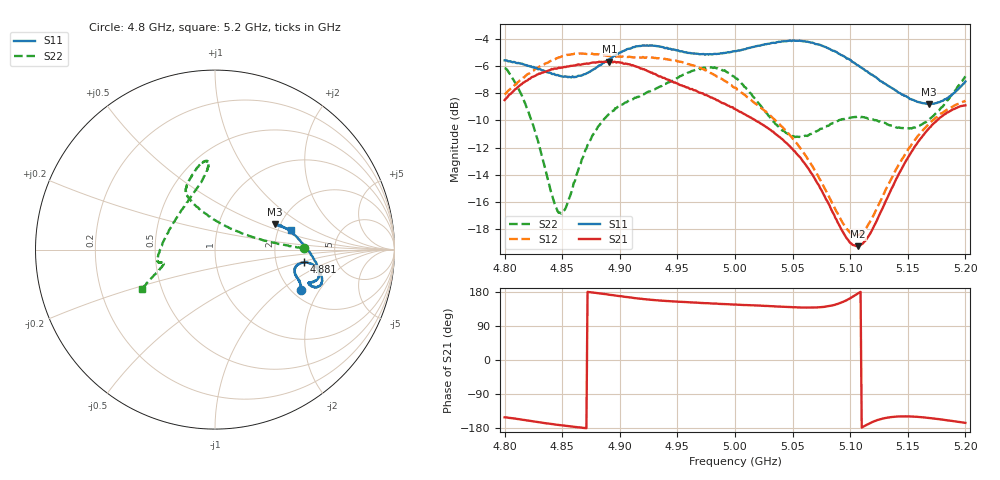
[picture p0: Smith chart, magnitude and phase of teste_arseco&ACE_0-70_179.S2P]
! Network Analyzer HP8722D
! Hewlett-Packard
! Data name: Linha & Wilkinson
! Saver's name: Rodrigo Anjos
! Comments: Teste da utilização de aquisição
! continua pelo VNA HP8722D
! Time and date: 8/5/2025 14:15
!  Frequency  S11  S21  S12  S22
# HZ  S  MA R 50
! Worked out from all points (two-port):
!   401 points, 4.8 GHz to 5.2 GHz, reference 50 ohm
!   highest |S21| = -5.66 dB at 4.891 GHz (marker M1); lowest = -19.3 dB at 5.107 GHz (marker M2)
!   |S21| within 3 dB of the highest: start of sweep to 4.988 GHz
!   lowest |S11| = -8.8 dB at 5.168 GHz (marker M3), VSWR 2.15, Z = 93.8 + j30.8 ohm
!   |S11| at or under -10 dB: nowhere
!   |S22| runs from -16.9 to -6.1 dB; largest |S21 - S12| = 1.1
!   S11 on the Smith chart (normalised r, x): 4.8 GHz: 2.23, -1.38; 4.881 GHz: 2.88, -0.54; 5.2 GHz: 2.36, +0.65
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4.8e9  0.5269 -25.1  0.376 -151.2  0.3945 8.3  0.4933 1.0
4.82e9  0.5027 -20.8  0.4449 -159.6  0.4687 5.3  0.3462 5.7
4.842e9  0.4691 -17.5  0.4882 -169.4  0.5276 1.9  0.1633 38.0
4.847e9  0.4632 -16.2  0.4951 -171.4  0.5404 0.9  0.1444 56.5
4.853e9  0.4593 -14.9  0.4976 -173.7  0.5495 -0.2  0.1504 79.5
4.867e9  0.4633 -10.9  0.5094 -178.7  0.5583 -2.1  0.2271 109.0
4.881e9  0.4996 -8.2  0.5179 176.4  0.5546 -3.2  0.3 116.2
4.891e9  0.5328 -8.1  0.5215 172.2  0.5471 -3.3  0.3345 117.1
4.913e9  0.5901 -11.7  0.5018 163.3  0.5406 -2.5  0.3837 114.7
4.934e9  0.5927 -16.6  0.4599 157.0  0.5364 -3.4  0.4202 109.2
4.973e9  0.5558 -19.4  0.3951 150.0  0.4879 -6.9  0.4953 97.1
5e9  0.5699 -20.5  0.3489 146.4  0.4175 -6.7  0.456 95.1
5.043e9  0.6194 -18.7  0.2646 140.3  0.2934 1.3  0.2883 130.6
5.067e9  0.6126 -14.0  0.2003 138.3  0.2153 8.7  0.2831 165.1
5.095e9  0.5441 -4.1  0.1201 155.0  0.1297 35.2  0.3203 -172.6
5.107e9  0.5045 1.7  0.1088 176.0  0.1196 58.6  0.3256 -168.9
5.117e9  0.4721 6.9  0.1204 -166.7  0.1335 77.3  0.3215 -167.2
5.134e9  0.4217 15.1  0.1703 -151.4  0.1866 94.3  0.3038 -166.2
5.152e9  0.379 21.3  0.2378 -149.1  0.2528 99.7  0.2964 -164.5
5.168e9  0.3641 23.0  0.2948 -152.8  0.3065 100.3  0.3181 -161.3
5.183e9  0.3794 20.4  0.3352 -158.5  0.3445 100.2  0.3675 -157.3
5.2e9  0.4404 14.6  0.3596 -165.9  0.3743 100.7  0.4602 -151.7
